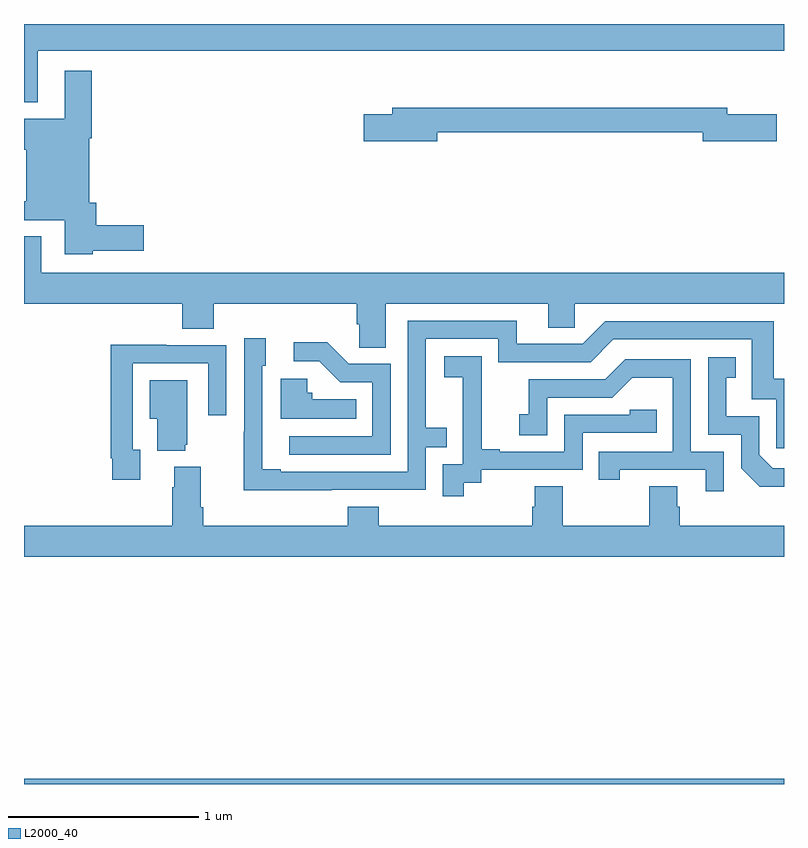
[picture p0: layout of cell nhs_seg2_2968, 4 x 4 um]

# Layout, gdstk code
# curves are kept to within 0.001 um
import gdstk
lib = gdstk.Library(unit=1e-6, precision=1e-09)
def R(c, l, rs):  # rectangles x0, y0, x1, y1
    for r in rs: c.add(gdstk.rectangle(r[:2], r[2:], *l))
def P(c, l, *ps):  # polygons
    for p in ps: c.add(gdstk.Polygon(p, *l))
L2000_40 = (2000, 40)

nhs_seg2_2968 = lib.new_cell('nhs_seg2_2968')
R(nhs_seg2_2968, L2000_40, [(267,619.8,271,619.828)])
P(nhs_seg2_2968, L2000_40, [(267.073,623.66),(271,623.66),(271,623.8),(267,623.8),(267,623.387),(267.073,623.387)],
  [(267.363,622.607),(267.631,622.607),(267.631,622.742),(267.38,622.742),(267.38,622.86),(267.343,622.86),(267.343,623.198),(267.356,623.198),(267.356,623.554),(267.215,623.554),(267.215,623.302),(267,623.302),(267,623.138),(267.011,623.138),(267.011,622.868),(267,622.868),(267,622.767),(267.215,622.767),(267.215,622.589),(267.363,622.589)],
  [(269.176,623.23),(270.572,623.23),(270.572,623.183),(270.961,623.183),(270.961,623.325),(270.7,623.325),(270.7,623.359),(268.937,623.359),(268.937,623.325),(268.788,623.325),(268.788,623.183),(269.176,623.183)],
  [(268.903,622.328),(269.759,622.328),(269.759,622.201),(269.898,622.201),(269.898,622.328),(271,622.328),(271,622.492),(267.091,622.492),(267.091,622.682),(267,622.682),(267,622.328),(267.833,622.328),(267.833,622.195),(267.998,622.195),(267.998,622.328),(268.751,622.328),(268.751,622.219),(268.764,622.219),(268.764,622.096),(268.903,622.096)],
  [(268.619,621.348),(269.115,621.348),(269.115,621.573),(269.225,621.573),(269.225,621.674),(269.115,621.674),(269.115,622.143),(269.496,622.143),(269.496,622.02),(269.982,622.02),(270.102,622.14),(270.831,622.14),(270.831,621.825),(270.96,621.825),(270.96,621.567),(271,621.567),(271,621.934),(270.947,621.934),(270.947,622.236),(270.06,622.236),(269.94,622.116),(269.593,622.116),(269.593,622.239),(269.019,622.239),(269.019,621.444),(268.351,621.444),(268.351,621.457),(268.254,621.457),(268.254,622.002),(268.273,622.002),(268.273,622.147),(268.158,622.147),(268.158,621.653),(268.156,621.653),(268.156,621.347)],
  [(268.929,622.011),(268.71,622.011),(268.597,622.124),(268.419,622.124),(268.419,622.026),(268.553,622.026),(268.664,621.915),(268.833,621.915),(268.833,621.63),(268.395,621.63),(268.395,621.534),(268.929,621.534)],
  [(267.613,621.558),(267.573,621.558),(267.573,622.014),(267.969,622.014),(267.969,621.741),(268.065,621.741),(268.065,622.11),(267.749,622.11),(267.749,622.112),(267.457,622.112),(267.457,621.514),(267.465,621.514),(267.465,621.402),(267.613,621.402)],
  [(269.314,621.385),(269.406,621.385),(269.406,621.453),(269.94,621.453),(269.94,621.648),(270.329,621.648),(270.329,621.771),(270.189,621.771),(270.189,621.744),(269.844,621.744),(269.844,621.549),(269.503,621.549),(269.503,621.562),(269.408,621.562),(269.408,621.845),(269.409,621.845),(269.409,622.051),(269.211,622.051),(269.211,621.941),(269.309,621.941),(269.309,621.713),(269.31,621.713),(269.31,621.483),(269.205,621.483),(269.205,621.315),(269.314,621.315)],
  [(271,621.462),(270.942,621.462),(270.87,621.534),(270.87,621.735),(270.697,621.735),(270.697,621.939),(270.746,621.939),(270.746,622.045),(270.6,622.045),(270.6,621.639),(270.774,621.639),(270.774,621.462),(270.872,621.365),(271,621.365)],
  [(270.684,621.549),(270.51,621.549),(270.51,622.035),(270.164,622.035),(270.059,621.93),(269.656,621.93),(269.656,621.745),(269.607,621.745),(269.607,621.636),(269.754,621.636),(269.754,621.834),(270.096,621.834),(270.2,621.938),(270.414,621.938),(270.414,621.549),(270.025,621.549),(270.025,621.402),(270.136,621.402),(270.136,621.453),(270.587,621.453),(270.587,621.342),(270.684,621.342)],
  [(268.748,621.826),(268.518,621.826),(268.518,621.858),(268.491,621.858),(268.491,621.934),(268.352,621.934),(268.352,621.722),(268.748,621.722)],
  [(267.848,621.585),(267.859,621.585),(267.859,621.925),(267.662,621.925),(267.662,621.722),(267.701,621.722),(267.701,621.554),(267.848,621.554)],
  [(271,621.16),(270.452,621.16),(270.452,621.258),(270.439,621.258),(270.439,621.368),(270.292,621.368),(270.292,621.16),(269.835,621.16),(269.835,621.368),(269.687,621.368),(269.687,621.258),(269.675,621.258),(269.675,621.16),(268.868,621.16),(268.868,621.259),(268.703,621.259),(268.703,621.16),(267.944,621.16),(267.944,621.256),(267.931,621.256),(267.931,621.469),(267.791,621.469),(267.791,621.362),(267.779,621.362),(267.779,621.16),(267,621.16),(267,620.996),(271,620.996)])

lib.write_gds('nhs_seg2_2968.gds')
